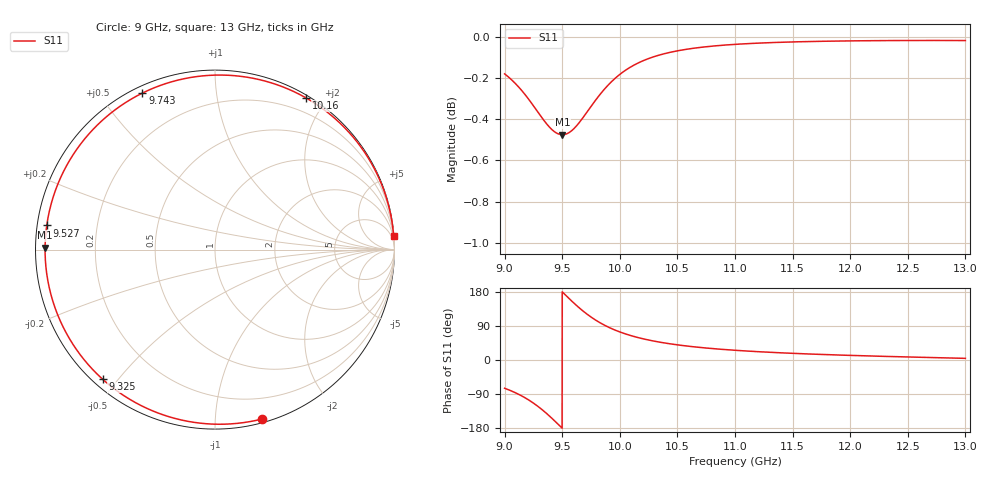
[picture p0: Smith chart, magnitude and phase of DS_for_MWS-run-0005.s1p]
! TOUCHSTONE file generated by CST DESIGN STUDIO
! Date and time: Wed Feb  5 13:37:20 2025
! Project name: C:\Work\MatlabApps\UnitCellOptimizationMatlab\CST\unitcell.cst
! Tree item: Tasks\Sweep1\SPara1\S-Parameters
! Header version: 2024
! Port assignment regex: !\s*Touchstone port\s*([0-9]+)\s*=\s*(CST MWS port|CST DES external port|CST DES block port)\s*(.+)\s* \(\"(.*)\"\)(\s*mode\s*([0-9]+))?.*
! Touchstone port assignment:
! Touchstone port 1 = CST DES external port 1 ("")
# GHz S MA R 50
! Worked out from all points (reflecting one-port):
!   4001 points, 9 GHz to 13 GHz, reference 50 ohm
!   lowest |S11| = -0.5 dB at 9.502 GHz (marker M1), VSWR 36.60, Z = 1.37 + j0.304 ohm
!   phase of S11 starts at -75 deg and turns -281 deg over the sweep
!   S11 on the Smith chart (normalised r, x): 9 GHz: 0.03, -1.31; 9.325 GHz: 0.03, -0.46; 9.527 GHz: 0.03, +0.07; 9.743 GHz: 0.03, +0.64; 10.16 GHz: 0.03, +1.77; 13 GHz: 1, +26
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9  0.9796 -74.5
9.086  0.9748 -85.3
9.188  0.9675 -101.6
9.259  0.9615 -115.6
9.325  0.9558 -130.9
9.372  0.9521 -143.1
9.421  0.949 -156.8
9.461  0.9474 -168.5
9.5  0.9468 179.9
9.502  0.9468 179.3
9.527  0.947 171.8
9.58  0.9488 156.3
9.64  0.9527 139.7
9.691  0.9568 126.7
9.743  0.9613 114.9
9.795  0.9657 104.4
9.853  0.9703 94.1
9.926  0.9752 83.2
10  0.9793 74.1
10.16  0.9856 59.1
10.314  0.9894 48.9
10.5  0.9923 40.0
10.722  0.9944 32.4
11  0.9959 25.6
11.5  0.9973 17.6
12  0.9979 12.1
12.5  0.9981 8.0
13  0.9981 4.4
